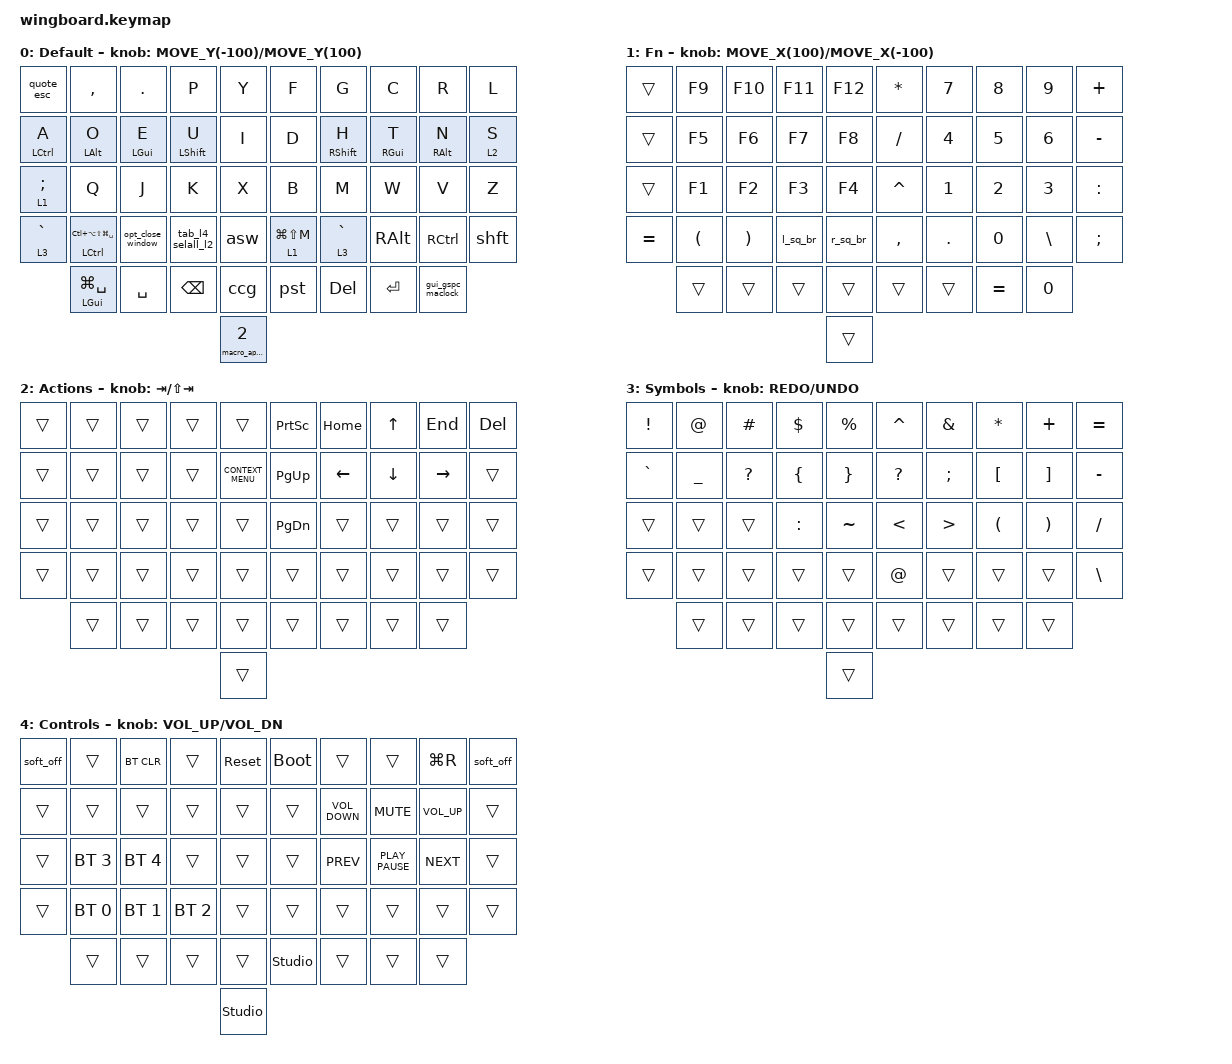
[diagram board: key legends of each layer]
#include <behaviors.dtsi>
#include <dt-bindings/zmk/bt.h>
#include <dt-bindings/zmk/keys.h>
#include <dt-bindings/zmk/pointing.h>

&msc {
};

/ {
    combos {
        compatible = "zmk,combos";

        combo_caps_word {
            timeout-ms = <30>;
            key-positions = <13 16>; // U and H
            bindings = <&caps_word>;
        };

        combo_enter {
            bindings = <&kp ENTER>;
            key-positions = <16 17>;
            timeout-ms = <15>;
        };

        combo_esc {
            bindings = <&kp ESCAPE>;
            key-positions = <0 1>;
            timeout-ms = <15>;
        };

        combo_prntscr {
            bindings = <&kp LG(LS(N5))>;
            key-positions = <3 2 1>;
            timeout-ms = <20>;
        };

        combo_appswitch {
            bindings = <&asw>;
            key-positions = <3 4>;
            timeout-ms = <20>;
        };

        combo_tab {
            bindings = <&kp TAB>;
            key-positions = <12 13>;
            timeout-ms = <15>;
        };

        combo_refresh {
            bindings = <&kp LG(R)>;
            key-positions = <2 3 4>;
            timeout-ms = <20>;
        };

        combo_closeapp {
            bindings = <&kp LG(W)>;
            key-positions = <0 1 2>;
            timeout-ms = <20>;
        };

        combo_copyspecial {
            bindings = <&kp LS(LG(C))>;
            key-positions = <43 42>;
            timeout-ms = <30>;
        };

        combo_question_right {
            bindings = <&kp QUESTION>;
            key-positions = <5 6>;
            timeout-ms = <20>;
        };

        combo_colon {
            bindings = <&kp COLON>;
            key-positions = <21 20>;
            timeout-ms = <20>;
        };

        combo_underscore {
            bindings = <&kp UNDER>;
            key-positions = <21 22>;
            timeout-ms = <20>;
        };

        combo_slash {
            bindings = <&kp SLASH>;
            key-positions = <15 16>;
            timeout-ms = <20>;
        };

        combo_backslash {
            bindings = <&kp BACKSLASH>;
            key-positions = <17 16 15>;
            timeout-ms = <20>;
        };

        combo_homerow_lock {
            bindings = <&hr_lock>;
            key-positions = <12 13 11>;
            timeout-ms = <15>;
        };

        combo_cut {
            bindings = <&kp LG(X)>;
            key-positions = <23 24 22>;
            timeout-ms = <30>;
        };

        combo_copy_spl {
            bindings = <&cpspl>;
            key-positions = <22 23>;
            timeout-ms = <30>;
        };

        combo_paste {
            bindings = <&pst>;
            key-positions = <24 23>;
            timeout-ms = <20>;
        };

        combo_hyphen_right {
            bindings = <&kp MINUS>;
            key-positions = <18 19>;
            timeout-ms = <20>;
        };

        combo_selall_save {
            bindings = <&sel_all_save>;
            key-positions = <3 2>;
            timeout-ms = <20>;
        };

        combo_1p {
            bindings = <&kp LG(LS(SPACE))>;
            key-positions = <2 1>;
            timeout-ms = <20>;
        };

        combo_at_symbol {
            bindings = <&kp AT>;
            key-positions = <10 11>;
            timeout-ms = <15>;
        };
    };

    sensors: sensors {
        compatible = "zmk,keymap-sensors";
        sensors = <&center_encoder>;
        triggers-per-rotation = <20>;
    };

    macros {
        macro_app_switch: macro_app_switch {
            compatible = "zmk,behavior-macro-one-param";
            #binding-cells = <1>;
            wait-ms = <0>;
            tap-ms = <0>;
            bindings =
                <&macro_param_1to1>,
                <&macro_press>,
                <&mo MACRO_PLACEHOLDER>,
                <&macro_press>,
                <&kp LCMD>,
                <&macro_pause_for_release>,
                <&macro_release>,
                <&kp LCMD &macro_param_1to1>,
                <&macro_release>,
                <&mo MACRO_PLACEHOLDER>;
        };
    };

    behaviors {
        hm: homerow_mods {
            compatible = "zmk,behavior-hold-tap";
            label = "HOMEROW_MODS";
            #binding-cells = <2>;
            flavor = "balanced";
            tapping-term-ms = <280>;
            quick-tap-ms = <175>;
            require-prior-idle-ms = <150>;
            bindings = <&kp>, <&kp>;
        };

        hlt: homerow_layer_tap {
            compatible = "zmk,behavior-hold-tap";
            label = "HOMEROW_LAYER_TAP";
            #binding-cells = <2>;
            flavor = "balanced";
            tapping-term-ms = <280>;
            quick-tap-ms = <175>;
            require-prior-idle-ms = <150>;
            bindings = <&mo>, <&kp>;
        };

        asw: appinst_switch_app_switch {
            compatible = "zmk,behavior-tap-dance";
            label = "APPINST_SWITCH_APP_SWITCH";
            #binding-cells = <0>;
            bindings = <&mt LEFT_GUI LG(GRAVE)>, <&kp LG(TAB)>;
        };

        ccg: copy_cut_gui {
            compatible = "zmk,behavior-tap-dance";
            label = "COPY_CUT_GUI";
            #binding-cells = <0>;
            bindings = <&mt LEFT_GUI LG(C)>, <&kp LG(X)>;
        };

        pst: paste_special {
            compatible = "zmk,behavior-tap-dance";
            label = "PASTE_SPECIAL";
            #binding-cells = <0>;
            bindings = <&kp LG(V)>, <&kp LS(LC(V))>;
        };

        shft: shift_caps_semi {
            compatible = "zmk,behavior-tap-dance";
            label = "SHIFT_CAPS_SEMI";
            #binding-cells = <0>;
            bindings = <&kp LEFT_SHIFT>, <&mt CAPSLOCK SEMI>;
        };

        screnc: scroll_encoder {
            compatible = "zmk,behavior-sensor-rotate-var";
            label = "SCROLL_ENCODER";
            #sensor-binding-cells = <2>;
            bindings = <&msc>, <&msc>;

            tap-ms = <30>;
        };

        l_sq_br: l_sqbkt_brace {
            compatible = "zmk,behavior-tap-dance";
            label = "L_SQBKT_BRACE";
            #binding-cells = <0>;
            bindings = <&kp LEFT_BRACKET>, <&kp LEFT_BRACE>;
        };

        r_sq_br: r_sqbkt_brace {
            compatible = "zmk,behavior-tap-dance";
            label = "R_SQBKT_BRACE";
            #binding-cells = <0>;
            bindings = <&kp RIGHT_BRACKET>, <&kp RIGHT_BRACE>;
        };

        tab_l4_selall_l2: tab_l4_selall_l2 {
            compatible = "zmk,behavior-tap-dance";
            label = "TAB_L4_SELALL_L2";
            #binding-cells = <0>;
            bindings = <&lt 4 TAB>, <&lt 2 LG(A)>;
        };

        gui_gspc_maclock: gui_gspc_maclock {
            compatible = "zmk,behavior-tap-dance";
            label = "GUI_GSPC_MACLOCK";
            #binding-cells = <0>;
            bindings = <&mt LEFT_GUI LG(SPACE)>, <&mt LC(LG(Q)) LEFT_GUI>;
        };

        quote_esc: quote_esc {
            compatible = "zmk,behavior-tap-dance";
            label = "QUOTE_ESC";
            #binding-cells = <0>;
            bindings = <&kp SQT>, <&kp ESC>;
        };

        opt_close_window: opt_close_window {
            compatible = "zmk,behavior-tap-dance";
            label = "OPT_CLOSE_WINDOW";
            #binding-cells = <0>;
            bindings = <&kp LEFT_ALT>, <&kp LG(W)>;
        };

        sel_all_save: sel_all_save {
            compatible = "zmk,behavior-tap-dance";
            label = "SEL_ALL_SAVE";
            #binding-cells = <0>;
            bindings = <&kp LG(A)>, <&kp LG(S)>;
        };

        cpspl: copy_cpspl {
            compatible = "zmk,behavior-tap-dance";
            label = "COPY_CPSPL";
            #binding-cells = <0>;
            bindings = <&kp LG(C)>, <&kp LG(LS(C))>;
        };

        hr_lock: homerowapp_maclock {
            compatible = "zmk,behavior-tap-dance";
            label = "HOMEROWAPP_MACLOCK";
            #binding-cells = <0>;
            bindings = <&kp LG(SPACE)>, <&mt LC(LG(Q)) LS(LA(LC(LG(SPACE))))>;
        };
    };

    keymap {
        compatible = "zmk,keymap";

        default_layer {
            // ,----------------------------------.               ,----------------------------------.
            // |  1   |  2   |  3   |  4   |  5   |               |  6   |  7   |  8   |  9   |  0   |
            // |------+------+------+------+------|               |------+------+------+------+------|
            // |  Q   |  W   |  E   |  R   |  T   |               |  Y   |  U   |  I   |  O   |  P   |
            // |------+------+------+------+------|               |------+------+------+------+------|
            // |  A   |  S   |  D   |  F   |  G   |               |  H   |  J   |  K   |  L   |  ;   |
            // |------+------+------+------+------.               |------+------+------+------+------|
            // |  /   |  Z   |  X   |  C   |  V   |               |  B   |  N   |  M   |  ,   |  .   |
            // `-------------+------+------+------+------. .------+------+------+------+------+------'
            //           | Function |      |      |      | |      | Actions |      |      |
            //           | layer MO | Alt  | Cmd  | ENTER| | SPACE| layer MO| Alt  | Ctrl |
            //           `----------------------------+--' '--+---------------------------'
            //                                        | BKSPC |                               
            //                                        '-------'

            bindings = <
  &quote_esc   &kp COMMA                        &kp PERIOD         &kp P              &kp Y                       &kp F            &kp G              &kp C            &kp R              &kp L
  &hm LCTRL A  &hm LEFT_ALT O                   &hm LEFT_GUI E     &hm LEFT_SHIFT U   &kp I                       &kp D            &hm RIGHT_SHIFT H  &hm RIGHT_GUI T  &hm RIGHT_ALT N    &hlt 2 S
  &lt 1 SEMI   &kp Q                            &kp J              &kp K              &kp X                       &kp B            &kp M              &kp W            &kp V              &kp Z
  &lt 3 GRAVE  &mt LCTRL LC(LA(LS(LG(SPACE))))  &opt_close_window  &tab_l4_selall_l2  &asw                        &lt 1 LG(LS(M))  &lt 3 GRAVE        &kp RIGHT_ALT    &kp RCTRL          &shft
               &mt LEFT_GUI LG(SPACE)           &kp SPACE          &kp BSPC           &ccg                        &pst             &kp DELETE         &kp ENTER        &gui_gspc_maclock
                                                                                             &macro_app_switch 2
            >;

            sensor-bindings = <&screnc MOVE_Y(-100) MOVE_Y(100)>;
            display-name = "Default";
        };

        functions_layer {
            bindings = <
  &trans     &kp F9                &kp F10                &kp F11   &kp F12           &kp ASTERISK  &kp N7   &kp N8     &kp N9         &kp PLUS
  &trans     &kp F5                &kp F6                 &kp F7    &kp F8            &kp SLASH     &kp N4   &kp N5     &kp N6         &kp MINUS
  &trans     &kp F1                &kp F2                 &kp F3    &kp F4            &kp CARET     &kp N1   &kp N2     &kp N3         &kp COLON
  &kp EQUAL  &kp LEFT_PARENTHESIS  &kp RIGHT_PARENTHESIS  &l_sq_br  &r_sq_br          &kp COMMA     &kp DOT  &kp N0     &kp BACKSLASH  &kp SEMICOLON
             &trans                &trans                 &trans    &trans            &trans        &trans   &kp EQUAL  &kp N0
                                                                              &trans
            >;

            sensor-bindings = <&screnc MOVE_X(100) MOVE_X(-100)>;
            display-name = "Fn";
        };

        actions_layer {
            bindings = <
  &trans  &trans  &trans  &trans  &trans                      &kp PSCRN  &kp HOME  &kp UP_ARROW  &kp END    &kp DEL
  &trans  &trans  &trans  &trans  &kp K_CONTEXT_MENU          &kp PG_UP  &kp LEFT  &kp DOWN      &kp RIGHT  &trans
  &trans  &trans  &trans  &trans  &trans                      &kp PG_DN  &trans    &trans        &trans     &trans
  &trans  &trans  &trans  &trans  &trans                      &trans     &trans    &trans        &trans     &trans
          &trans  &trans  &trans  &trans                      &trans     &trans    &trans        &trans
                                                      &trans
            >;

            sensor-bindings = <&inc_dec_kp TAB LS(TAB)>;
            display-name = "Actions";
        };

        symbols_layer {
            bindings = <
  &kp EXCLAMATION  &kp AT_SIGN  &kp HASH      &kp DOLLAR      &kp PERCENT              &kp CARET      &kp AMPERSAND     &kp ASTERISK          &kp PLUS               &kp EQUAL
  &kp GRAVE        &kp UNDER    &kp QUESTION  &kp LEFT_BRACE  &kp RIGHT_BRACE          &kp QUESTION   &kp SEMI          &kp LEFT_BRACKET      &kp RIGHT_BRACKET      &kp MINUS
  &trans           &trans       &trans        &kp COLON       &kp TILDE                &kp LESS_THAN  &kp GREATER_THAN  &kp LEFT_PARENTHESIS  &kp RIGHT_PARENTHESIS  &kp SLASH
  &trans           &trans       &trans        &trans          &trans                   &kp AT         &trans            &trans                &trans                 &kp BACKSLASH
                   &trans       &trans        &trans          &trans                   &trans         &trans            &trans                &trans
                                                                               &trans
            >;

            sensor-bindings = <&inc_dec_kp K_REDO K_UNDO>;
            display-name = "Symbols";
        };

        controls_layer {
            bindings = <
  &soft_off  &trans        &bt BT_CLR    &trans        &sys_reset                  &bootloader     &trans             &trans            &kp LG(R)        &soft_off
  &trans     &trans        &trans        &trans        &trans                      &trans          &kp C_VOLUME_DOWN  &kp K_MUTE        &kp C_VOLUME_UP  &trans
  &trans     &bt BT_SEL 3  &bt BT_SEL 4  &trans        &trans                      &trans          &kp K_PREV         &kp K_PLAY_PAUSE  &kp K_NEXT       &trans
  &trans     &bt BT_SEL 0  &bt BT_SEL 1  &bt BT_SEL 2  &trans                      &trans          &trans             &trans            &trans           &trans
             &trans        &trans        &trans        &trans                      &studio_unlock  &trans             &trans            &trans
                                                                   &studio_unlock
            >;

            sensor-bindings = <&inc_dec_kp C_VOL_UP C_VOL_DN>;
            display-name = "Controls";
        };

        additional_layer1 { status = "reserved"; };

        additional_layer2 { status = "reserved"; };
    };
};
